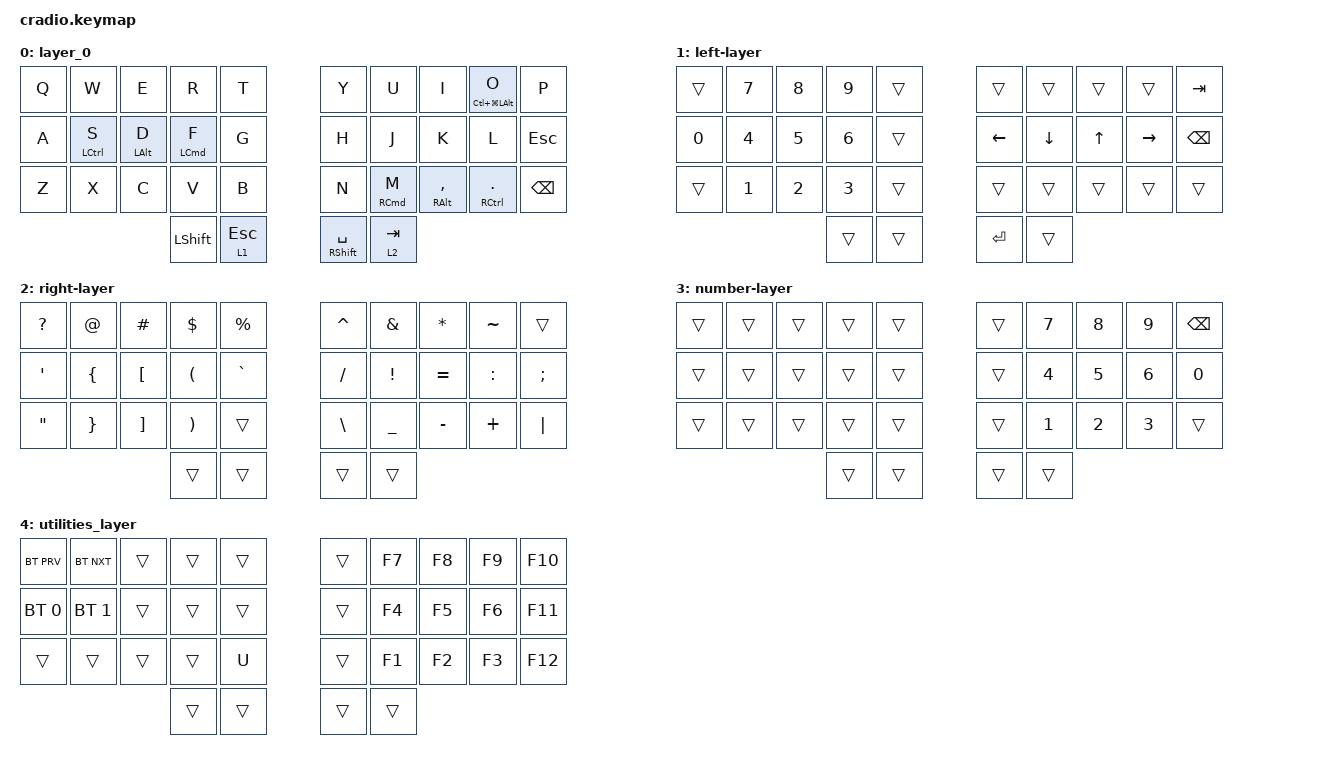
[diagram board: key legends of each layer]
// Copyright (c) 2022 The ZMK Contributors
// SPDX-License-Identifier: MIT

#include <behaviors.dtsi>
#include <dt-bindings/zmk/keys.h>
#include <dt-bindings/zmk/bt.h>
#include <dt-bindings/zmk/outputs.h>

// Home row mods macro
#define HRML(k2,k3,k4) &ht LALT k2  &ht LCTRL k3  &ht LGUI k4
#define HRMR(k1,k2,k3) &ht RGUI k1  &ht RCTRL k2  &ht RALT k3
#define WHRML(k2,k3,k4) &ht LALT k2  &ht LGUI k3  &ht LCTRL k4
#define WHRMR(k1,k2,k3) &ht RCTRL k1  &ht RGUI k2  &ht RALT k3

#define MAC 0
#define WIN 1
#define RIG 2
#define LEF 3
#define TRI 4

#include <behaviors.dtsi>
#include <dt-bindings/zmk/keys.h>

#include <behaviors.dtsi>
#include <dt-bindings/zmk/keys.h>

#include <behaviors.dtsi>
#include <dt-bindings/zmk/keys.h>

#include <behaviors.dtsi>
#include <dt-bindings/zmk/keys.h>

#include <behaviors.dtsi>
#include <dt-bindings/zmk/keys.h>

#include <behaviors.dtsi>
#include <dt-bindings/zmk/keys.h>

#include <behaviors.dtsi>
#include <dt-bindings/zmk/keys.h>

/ {
    behaviors {
        hmlr: hmlr {
            compatible = "zmk,behavior-hold-tap";
            label = "HMLR";
            bindings = <&kp>, <&kp>;

            #binding-cells = <2>;
            tapping-term-ms = <280>;
            quick-tap-ms = <175>;
            require-prior-idle-ms = <150>;
            flavor = "balanced";
            hold-trigger-on-release;
            hold-trigger-key-positions = <0 1 2 3 4 11 12 13 14 10 19 20 21 22 23 24 25 26 27 28 29 30 31 32 33 5 6 7 8 9 15 16 17 18 19 25 26 27 28 29>;
        };
    };

    keymap {
        compatible = "zmk,keymap";

        layer_0 {
            bindings = <
&kp Q  &kp W                 &kp E             &kp R                 &kp T           &kp Y               &kp U                  &kp I                  &hmlr LC(LG(LEFT_ALT)) O  &kp P
&kp A  &hmlr LEFT_CONTROL S  &hmlr LEFT_ALT D  &hmlr LEFT_COMMAND F  &kp G           &kp H               &kp J                  &kp K                  &kp L                     &kp ESCAPE
&kp Z  &kp X                 &kp C             &kp V                 &kp B           &kp N               &hmlr RIGHT_COMMAND M  &hmlr RIGHT_ALT COMMA  &hmlr RIGHT_CONTROL DOT   &kp BACKSPACE
                                               &kp LSHIFT            &lt 1 ESCAPE    &hmlr RSHIFT SPACE  &lt 2 TAB
            >;
        };

        left-layer {
            bindings = <
&trans  &kp N7  &kp N8  &kp N9  &trans    &trans     &trans    &trans  &trans     &kp TAB
&kp N0  &kp N4  &kp N5  &kp N6  &trans    &kp LEFT   &kp DOWN  &kp UP  &kp RIGHT  &kp BSPC
&trans  &kp N1  &kp N2  &kp N3  &trans    &trans     &trans    &trans  &trans     &trans
                        &trans  &trans    &kp ENTER  &trans
            >;
        };

        right-layer {
            bindings = <
&kp QUESTION       &kp AT           &kp HASH           &kp DOLLAR             &kp PRCNT    &kp CARET      &kp AMPERSAND    &kp ASTERISK  &kp TILDE  &trans
&kp SINGLE_QUOTE   &kp LEFT_BRACE   &kp LEFT_BRACKET   &kp LEFT_PARENTHESIS   &kp GRAVE    &kp SLASH      &kp EXCLAMATION  &kp EQUAL     &kp COLON  &kp SEMICOLON
&kp DOUBLE_QUOTES  &kp RIGHT_BRACE  &kp RIGHT_BRACKET  &kp RIGHT_PARENTHESIS  &trans       &kp BACKSLASH  &kp UNDERSCORE   &kp MINUS     &kp PLUS   &kp PIPE
                                                       &trans                 &trans       &trans         &trans
            >;
        };

        number-layer {
            bindings = <
&trans  &trans  &trans  &trans  &trans    &trans  &kp N7  &kp N8  &kp N9  &kp BACKSPACE
&trans  &trans  &trans  &trans  &trans    &trans  &kp N4  &kp N5  &kp N6  &kp N0
&trans  &trans  &trans  &trans  &trans    &trans  &kp N1  &kp N2  &kp N3  &trans
                        &trans  &trans    &trans  &trans
            >;
        };

        utilities_layer {
            bindings = <
&bt BT_PRV    &bt BT_NXT    &trans  &trans  &trans    &trans  &kp F7  &kp F8  &kp F9  &kp F10
&bt BT_SEL 0  &bt BT_SEL 1  &trans  &trans  &trans    &trans  &kp F4  &kp F5  &kp F6  &kp F11
&trans        &trans        &trans  &trans  &kp U     &trans  &kp F1  &kp F2  &kp F3  &kp F12
                                    &trans  &trans    &trans  &trans
            >;
        };
    };

    conditional_layers {
        compatible = "zmk,conditional-layers";

        utilites-layer-conditional {
            if-layers = <1 2>;
            then-layer = <4>;
        };
    };
};
